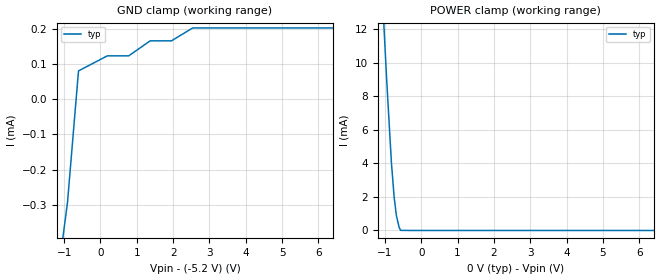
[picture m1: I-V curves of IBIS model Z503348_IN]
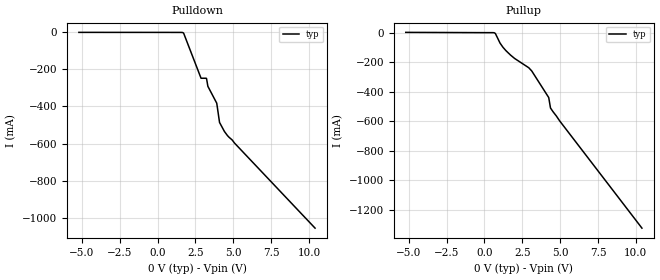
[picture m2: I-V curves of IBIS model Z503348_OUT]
| YOU ARE ONLY AUTHORIZED TO USE THIS SOFTWARE
| ACCORDING TO LICENSOR'S LICENSE RESTRICTIONS.
[IBIS Ver] 3.1
[File Name] mc10136l.ibs
[File Rev] 2.0
[Source] Measured and created by ICX Technology
[Date] Friday 7/14/00 9:07:46 AM
[Copyright]
| (C) COPYRIGHT 1993-2000
| MENTOR GRAPHICS CORPORATION
| ICX STANDARD LIBRARY, ICX PROJECT MODELING,
| ICX CUSTOM MODELING, ICX VENDOR MODEL
| ALL RIGHTS RESERVED.
| THE FOLLOWING ARE TRADEMARKS OR SERVICE MARKS OF
| MENTOR GRAPHICS CORPORATION:ICX (R), ICX STANDARD
| LIBRARY(R), ICX PROJECT MODELING(R), ICX CUSTOM
| MODELING(R), qualityIBIS(TM), MODELVIEWER(TM),
| AND MODELEDITOR(TM)
| ALL COPIES OF SOFTWARE, INCLUDING BUT NOT LIMITED TO
| ANY MODIFICATIONS, ENHANCEMENTS OR DERIVATIVE WORKS,
| MUST CONTAIN ALL MENTOR GRAPHICS CORPORATION'S
| NOTICES AND LEGENDS, INCLUDING THOSE EMBEDDED IN
| SOFTWARE AND THOSE AFFIXED TO SOFTWARE MEDIUM
| AND CONTAINER, AS RECEIVED FROM MENTOR GRAPHICS
| CORPORATION.
|  ZAP Model Builder 2.7
[Component] MC10136L
[Manufacturer] OnSemiconductor
[Package]
| variable   typ   min   max
R_pkg  .212ohms NA NA
L_pkg  4.758nH NA NA
C_pkg  1.944pF NA NA
[Pin] signal_name  model_name  R_pin  L_pin C_pin
1 VCC1 POWER .224 7.258n 2.683p
2 Q2 Z503348_OUT .216 5.258n 2.19p
3 Q3 Z503348_OUT .208 3.758n 1.697p
4 _CO Z503348_OUT .2 2.758n 1.204p
5 D3 Z503348_IN .2 2.758n 1.204p
6 D2 Z503348_IN .208 3.758n 1.697p
7 S2 Z503348_IN .216 5.258n 2.19p
8 VEE POWER .224 7.258n 2.683p
9 S1 Z503348_IN .224 7.258n 2.683p
10 _CI Z503348_IN .216 5.258n 2.19p
11 D1 Z503348_IN .208 3.758n 1.697p
12 D0 Z503348_IN .2 2.758n 1.204p
13 CLK Z503348_IN .2 2.758n 1.204p
14 Q0 Z503348_OUT .208 3.758n 1.697p
15 Q1 Z503348_OUT .216 5.258n 2.19p
16 VCC2 POWER .224 7.258n 2.683p
| Models and submodels in the file (2): Z503348_IN (Input_ECL), Z503348_OUT (Output_ECL)
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| (C) COPYRIGHT 1993-2000
| MENTOR GRAPHICS CORPORATION
| ICX STANDARD LIBRARY, ICX PROJECT MODELING,
| ICX CUSTOM MODELING, ICX VENDOR MODEL
| ALL RIGHTS RESERVED.
| THE FOLLOWING ARE TRADEMARKS OR SERVICE MARKS OF
| MENTOR GRAPHICS CORPORATION:ICX (R), ICX STANDARD
| LIBRARY(R), ICX PROJECT MODELING(R), ICX CUSTOM
| MODELING(R), qualityIBIS(TM), MODELVIEWER(TM),
| AND MODELEDITOR(TM)
| ALL COPIES OF SOFTWARE, INCLUDING BUT NOT LIMITED TO
| ANY MODIFICATIONS, ENHANCEMENTS OR DERIVATIVE WORKS,
| MUST CONTAIN ALL MENTOR GRAPHICS CORPORATION'S
| NOTICES AND LEGENDS, INCLUDING THOSE EMBEDDED IN
| SOFTWARE AND THOSE AFFIXED TO SOFTWARE MEDIUM
| AND CONTAINER, AS RECEIVED FROM MENTOR GRAPHICS
| CORPORATION.
| Model Application Version 1.89 2/18/99.
[Model] Z503348_IN
Model_type Input_ECL
Vinl = -1.475V
Vinh = -1.105V
C_comp 4.000pF NA NA
| variable typ   min   max
[Voltage Range] -5.200V NA NA
[GND Clamp Reference] -5.200V NA NA
[POWER Clamp Reference] 0.000V NA NA
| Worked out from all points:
|   POWER clamp passes 1 mA (typ) near -0.69 V on its own axis
[GND Clamp]
-5.2V     -3.826mA   NA         NA
-1.306V   -958.7uA   NA         NA
-1.146V   -480.3uA   NA         NA
-908mV    -292.6uA   NA         NA
-605.3mV  80.67uA    NA         NA
187mV     123.4uA    NA         NA
776.5mV   123.4uA    NA         NA
1.366V    166uA      NA         NA
1.952V    166uA      NA         NA
2.539V    202.8uA    NA         NA
10.4V     202.8uA    NA         NA
[POWER Clamp]
-5.2V     284.4mA    NA         NA
-1.151V   17.36mA    NA         NA
-957.9mV  9.168mA    NA         NA
-823.1mV  4.056mA    NA         NA
-747.1mV  1.976mA    NA         NA
-685.9mV  883.2uA    NA         NA
-610.2mV  190.1uA    NA         NA
-571.1mV  8.2uA      NA         NA
10.4V     0A         NA         NA
| (C) COPYRIGHT 1993-2000
| MENTOR GRAPHICS CORPORATION
| ICX STANDARD LIBRARY, ICX PROJECT MODELING,
| ICX CUSTOM MODELING, ICX VENDOR MODEL
| ALL RIGHTS RESERVED.
| THE FOLLOWING ARE TRADEMARKS OR SERVICE MARKS OF
| MENTOR GRAPHICS CORPORATION:ICX (R), ICX STANDARD
| LIBRARY(R), ICX PROJECT MODELING(R), ICX CUSTOM
| MODELING(R), qualityIBIS(TM), MODELVIEWER(TM),
| AND MODELEDITOR(TM)
| ALL COPIES OF SOFTWARE, INCLUDING BUT NOT LIMITED TO
| ANY MODIFICATIONS, ENHANCEMENTS OR DERIVATIVE WORKS,
| MUST CONTAIN ALL MENTOR GRAPHICS CORPORATION'S
| NOTICES AND LEGENDS, INCLUDING THOSE EMBEDDED IN
| SOFTWARE AND THOSE AFFIXED TO SOFTWARE MEDIUM
| AND CONTAINER, AS RECEIVED FROM MENTOR GRAPHICS
| CORPORATION.
| Model Application Version 1.89 2/18/99.
[Model] Z503348_OUT
Model_type Output_ECL
Vref=-2.000V
Rref=50.00ohms
Cref=0.000F
Vmeas=-1.290V
C_comp 8.000pF NA NA
| variable typ   min   max
[Voltage Range] -5.200V NA NA
[POWER Clamp Reference] 0.000V NA NA
[Pullup Reference] 0.000V NA NA
[Pulldown Reference] 0.000V NA NA
[GND Clamp Reference] -5.200V NA NA
[GND Clamp]
-5.2V     0A         NA         NA
10.4V     0A         NA         NA
[Pulldown]
-5.2V     248.3uA    NA         NA
1.543V    -9.108uA   NA         NA
1.719V    -4.072mA   NA         NA
2.869V    -247.5mA   NA         NA
3.232V    -249.4mA   NA         NA
3.32V     -291.1mA   NA         NA
3.906V    -382.3mA   NA         NA
4.091V    -486.3mA   NA         NA
4.415V    -535.2mA   NA         NA
4.611V    -556.9mA   NA         NA
4.927V    -581mA     NA         NA
10.4V     -1.057A    NA         NA
[Pullup]
-5.2V     1.83mA     NA         NA
547.7mV   -91.87uA   NA         NA
722.7mV   -6.505mA   NA         NA
1.027V    -70.77mA   NA         NA
1.411V    -121.5mA   NA         NA
1.992V    -175mA     NA         NA
2.924V    -237.7mA   NA         NA
3.12V     -259.4mA   NA         NA
4.243V    -439.6mA   NA         NA
4.36V     -510.4mA   NA         NA
4.531V    -536.1mA   NA         NA
10.4V     -1.324A    NA         NA
[POWER Clamp]
-5.2V     0A         NA         NA
10.4V     0A         NA         NA
[Ramp]
| variable typ min max
dV/dt_r 584.5m/1.611n NA NA
dV/dt_f 584.5m/1.262n NA NA
R_load = 500.0Ohms
